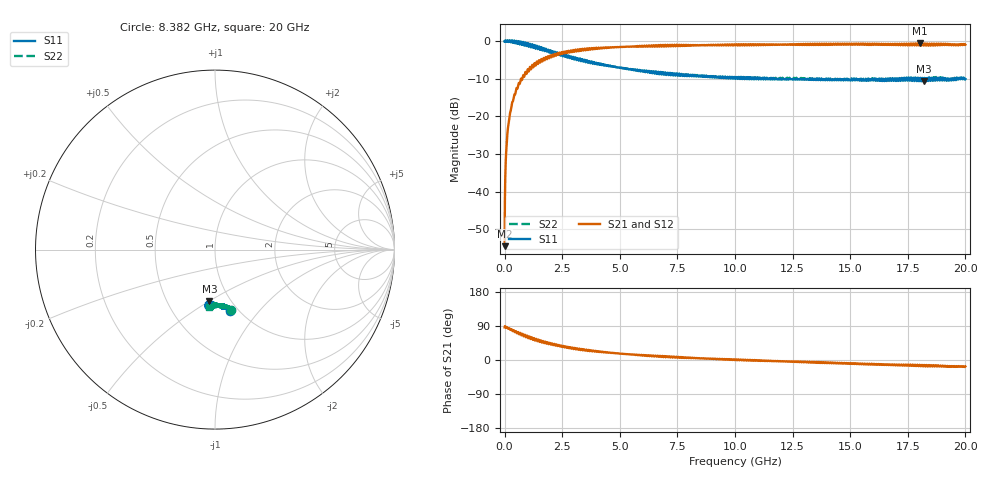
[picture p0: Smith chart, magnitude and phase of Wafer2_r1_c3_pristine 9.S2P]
!  2-Port S-parameters saved by WinCal
! VAR MeasName=S-Parameters (CALIBRATED_DATA) read from VNA (P5004A)
! VAR MeasDate=24/04/2024 16:00:33
! VAR NAME=Wafer2_r1_c3_pristine 9
! VAR FILENAME=Wafer2_r1_c3_pristine 9.S2P
! VAR DATE=24/04/2024 16:00:33
! VAR PHYS_PORTS=1,2
! VAR ObjTypeName=DATASET
! VAR IndexType=Frequency
# Hz S MA R 50
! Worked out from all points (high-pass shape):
!   4999 points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, 4.01 MHz to 20 GHz, reference 50 ohm
!   highest |S21| = -0.61 dB at 18.04 GHz (marker M1); lowest = -54.5 dB at 4.01 MHz (marker M2)
!   |S21| within 3 dB of the highest: 2.255 GHz to 2.317 GHz (62.46 MHz wide, 2.73 % of centre); 2.342 GHz to end of sweep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
!   lowest |S11| = -10.7 dB at 18.19 GHz (marker M3), VSWR 1.82, Z = 40 - j25.2 ohm
!   |S11| at or under -10 dB: 12.1 GHz to 12.19 GHz (86.19 MHz wide, 0.71 % of centre); 12.2 GHz to 16.53 GHz (4.335 GHz wide, 30.2 % of centre); 19.15 GHz to 19.33 GHz (178.1 MHz wide, 0.925 % of centre)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
!   |S22| runs from -10.5 to 0.1 dB; largest |S21 - S12| = 0.014
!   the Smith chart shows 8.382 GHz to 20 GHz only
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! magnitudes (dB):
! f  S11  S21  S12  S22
! 4.01 MHz  -0.1  -54.5  -54.4  -0.1
! 44.02 MHz  0.1  -33.5  -33.6  0.1
! 112 MHz  0.0  -25.7  -25.7  0.0
! 140 MHz  0.1  -23.6  -23.7  0.1
! 180 MHz  -0.2  -21.9  -21.8  -0.2
! 248.1 MHz  -0.1  -18.9  -19.0  0.0
! 348.1 MHz  -0.2  -16.2  -16.2  -0.2
! 468.1 MHz  -0.6  -14.0  -14.0  -0.6
! 624.1 MHz  -0.1  -11.1  -11.2  -0.2
! 824.2 MHz  -0.5  -9.1  -9.1  -0.5
! 1.04 GHz  -1.3  -8.0  -8.0  -1.3
! 1.56 GHz  -2.2  -5.5  -5.5  -2.2
! 2.348 GHz  -3.6  -3.5  -3.5  -3.6
! 3.341 GHz  -5.2  -2.5  -2.5  -5.2
! 4.801 GHz  -6.9  -1.6  -1.6  -6.8
! 6.673 GHz  -8.2  -1.1  -1.1  -8.3
! 10 GHz  -9.9  -1.1  -1.2  -9.8
! 13.33 GHz  -10.2  -1.0  -1.0  -10.0
! 16.67 GHz  -10.5  -0.9  -0.9  -10.1
! 18.04 GHz  -9.8  -0.6  -0.6  -10.1
! 18.19 GHz  -10.7  -1.2  -1.2  -10.3
! 20 GHz  -10.1  -1.0  -1.0  -9.9
